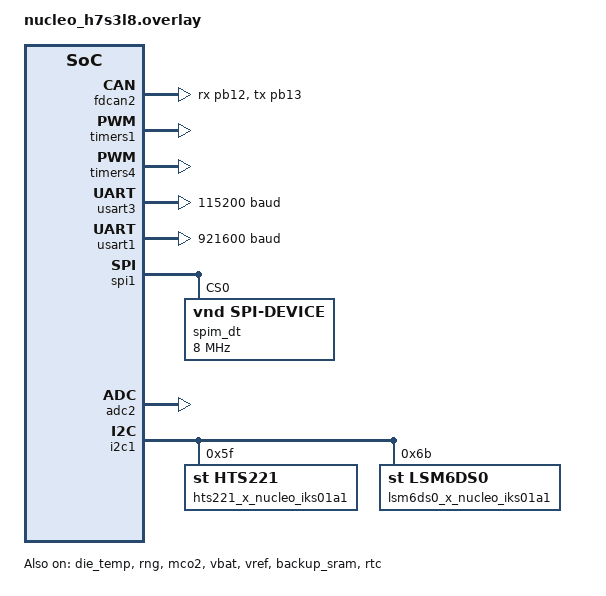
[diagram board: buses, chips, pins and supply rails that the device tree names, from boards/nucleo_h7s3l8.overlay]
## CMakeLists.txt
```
# SPDX-License-Identifier: Apache-2.0

cmake_minimum_required(VERSION 3.20.0)

find_package(Zephyr REQUIRED HINTS $ENV{ZEPHYR_BASE})
project(sample_with_mcuboot)

# Verify that this sample is built through sysbuild to ensure MCUboot is
# automatically included and that sample specific MCUboot configurations are
# used when building MCUboot.
test_sysbuild()

target_sources(app PRIVATE 
    src/main.c
    src/operation.c

    src/bsp/uart.c
    src/bsp/button.c
    src/nucleo_iks01a1/nucleo_iks01a1.c
)
```

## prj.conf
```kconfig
# MAIN
CONFIG_MAIN_STACK_SIZE=4096

# LOG
CONFIG_LOG=y
CONFIG_LOG_BUFFER_SIZE=4096

# GPIO
CONFIG_GPIO=y

# I2C
CONFIG_I2C=y

# SPI
CONFIG_SPI=y

# PWM
CONFIG_PWM=y
CONFIG_PWM_SHELL=y
CONFIG_PWM_LOG_LEVEL_DBG=y

# RTC
CONFIG_RTC=y
CONFIG_RTC_LOG_LEVEL_DBG=y
CONFIG_RTC_SHELL=y

# HWINFO
CONFIG_HWINFO=y
CONFIG_HWINFO_SHELL=y

# BBRAM
CONFIG_BBRAM=y
CONFIG_BBRAM_SHELL=y
CONFIG_MPU_ALLOW_FLASH_WRITE=y

# SHELL
CONFIG_SHELL=y
CONFIG_SPI_SHELL=y
CONFIG_GPIO_SHELL=y
CONFIG_I2C_SHELL=y
CONFIG_SHELL_STACK_SIZE=4096
CONFIG_SHELL_PROMPT_UART="inspiron:~$ "

# REBOOT
CONFIG_REBOOT=y

# FPU
# CNN  --> FPU     -->
# 1007 --> 1044(X) --> 736
# CONFIG_FPU=y
# CONFIG_SPEED_OPTIMIZATIONS=y

# ST TEMP SENSOR
CONFIG_SENSOR=y
CONFIG_STM32_TEMP=y

# CAN
CONFIG_CAN=y
CONFIG_CAN_SHELL=y
CONFIG_CAN_FD_MODE=y
CONFIG_CAN_MANUAL_RECOVERY_MODE=y
CONFIG_CAN_DEFAULT_BITRATE=1000000
CONFIG_CAN_LOG_LEVEL_DBG=y

# HEAP
CONFIG_HEAP_MEM_POOL_SIZE=10240
CONFIG_SYS_HEAP_RUNTIME_STATS=y


# RANDOM
CONFIG_ENTROPY_GENERATOR=y

# JSON
CONFIG_JSON_LIBRARY=y

# C++
CONFIG_CPP=y
CONFIG_STD_CPP17=y
CONFIG_MAIN_STACK_SIZE=4096

CONFIG_REQUIRES_FULL_LIBCPP=y
CONFIG_CBPRINTF_FP_SUPPORT=y
```

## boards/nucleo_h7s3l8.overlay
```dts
/*
 * Copyright (c) 2025 STMicroelectronics
 *
 * SPDX-License-Identifier: Apache-2.0
 */

/*
 * Define the device, controller and partition to be the external memory
 * for running the application in external NOR from MCUboot
 */
/ {
	aliases {
		/delete-property/ led0;
    	/delete-property/ led1;
		/delete-property/ led2;

		led0 = &red_led;
	};

	chosen {
		zephyr,flash = &mx25uw25645;
		zephyr,flash-controller = &mx25uw25645;
		zephyr,code-partition = &slot0_partition;
	};

	soc {
		backup_sram: memory@38800000 {
			compatible = "zephyr,memory-region", "st,stm32-backup-sram";
			reg = <0x38800000 DT_SIZE_K(4)>;
			clocks = <&rcc STM32_CLOCK(AHB4, 28)>;
			zephyr,memory-region = "BACKUP_SRAM";
			status = "okay";
		};

		rtc: rtc@58004000 {
			compatible = "st,stm32-rtc";
			reg = <0x58004000 0x400>;
			interrupts = <32 0>;
			clocks = <&rcc STM32_CLOCK(APB4, 16)>,
				<&rcc STM32_SRC_LSE RTC_SEL(1)>;
			async-prescaler = <127>;
			sync-prescaler = <255>;
			alarms-count = <2>;
			alrm-exti-line = <17>;
			status = "okay";

			bbram: backup_regs {
				compatible = "st,stm32-bbram";
				st,backup-regs = <32>;
				status = "okay";
			};
		};
	};
};

&sram1 {
	status = "okay";
};

&sram2 {
	status = "okay";
};

&pll {
	div-m = <2>;
	mul-n = <50>;
	div-p = <1>;
};

&rcc {
	clock-frequency = <DT_FREQ_M(600)>;
	hpre = <2>;
};

&clk_hsi48 {
	status = "okay";
};

&die_temp {
	status = "okay";
};

&rng {
	status = "okay";
};

&fdcan2 {
	pinctrl-0 = <&fdcan2_rx_pb12 &fdcan2_tx_pb13>;
	pinctrl-names = "default";
	status = "okay";
};

&timers1 {
	status = "okay";

	pwm1 {
		compatible = "st,stm32-pwm";
		pinctrl-0 = <&tim1_ch4_pd10>;
		pinctrl-names = "default";
		status = "okay";
		#pwm-cells = <3>;
	};
};

&timers4 {
	status = "okay";

	pwm4 {
		compatible = "st,stm32-pwm";
		pinctrl-0 = <&tim4_ch2_pd13>;
		pinctrl-names = "default";
		status = "okay";
		#pwm-cells = <3>;
	};
};

&usart3 {
	current-speed = <115200>;
};

&usart1 {
	current-speed = <921600>;
};

&spi1 {
	spim_dt: spi-device@0 {
		compatible = "vnd,spi-device";
		reg = <0>;
		spi-max-frequency = <DT_FREQ_M(8)>;
	};
};

/*
	PA8 for mco1 has been used as I2C3_SCL.
*/
&mco2 {
	status = "okay";
	clocks = <&rcc STM32_SRC_HSE MCO1_SEL(2)>;
	prescaler = <MCO1_PRE(MCO_PRE_DIV_11)>;
	pinctrl-0 = <&rcc_mco_2_pc9>;
	pinctrl-names = "default";
};

&adc2 {
	st,adc-clock-source = "SYNC";
	st,adc-prescaler = <4>;
	status = "okay";
};

&vbat {
	status = "okay";
};

&vref {
	status = "okay";
};

&i2c1 {
	hts221_x_nucleo_iks01a1: hts221@5f {
		compatible = "st,hts221";
		reg = <0x5f>;
	};

	lsm6ds0_x_nucleo_iks01a1: lsm6ds0@6b {
		compatible = "st,lsm6ds0";
		reg = <0x6b>;
	};
};

/delete-node/ &green_led;
/delete-node/ &yellow_led;


/delete-node/ &scratch_partition;
/delete-node/ &slot0_partition;
/delete-node/ &slot1_partition;
/delete-node/ &storage_partition;

&mx25uw25645 {
	partitions {
		compatible = "fixed-partitions";
		#address-cells = <1>;
		#size-cells = <1>;

		slot0_partition: partition@0 {
			label = "image-0";
			reg = <0x00000000 0x00800180>;
		};

		slot1_partition: partition@801000 {
			label = "image-1";
			reg = <0x00801000 0x00800180>;
		};
		scratch_partition: partition@1002000 {
			label = "image-scratch";
			reg = <0x01002000 DT_SIZE_K(64)>;
		};
		storage_partition: partition@1012000 {
			label = "storage";
			reg = <0x01012000 0x00FEE000>;
		};
	};
};
```

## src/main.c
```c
/*
 * Copyright (c) 2022 Nordic Semiconductor
 *
 * SPDX-License-Identifier: Apache-2.0
 */

#include <zephyr/kernel.h>
#include <zephyr/linker/linker-defs.h>
#include <zephyr/drivers/gpio.h>

#include "bsp/button.h"
#include "bsp/uart.h"

#include <zephyr/logging/log.h>
LOG_MODULE_REGISTER(main, LOG_LEVEL_DBG);


#define LED_DELAY_MS 100

static const struct gpio_dt_spec led0 = GPIO_DT_SPEC_GET(DT_ALIAS(led0), gpios);

__stm32_backup_sram_section int backup_boot_count;

int main(void)
{
	backup_boot_count++;
	
	LOG_INF("app on: %p", (void *)__rom_region_start);
	LOG_INF("arch : %s", CONFIG_ARCH);
	LOG_INF("soc : %s", CONFIG_BOARD_QUALIFIERS);
	LOG_INF("board : %s", CONFIG_BOARD);
	LOG_INF("frequency : %d MHz (Cortex-M7)", sys_clock_hw_cycles_per_sec()/1000000);
	LOG_INF("boot count : %d", backup_boot_count);

	gpio_pin_configure_dt(&led0, GPIO_OUTPUT_INACTIVE);

	bsp_button_init();
	bsp_uart_init();
	int bsp_imu_init(void);
	bsp_imu_init();

	while(1) 
	{
		gpio_pin_toggle_dt(&led0);
		k_sleep(K_MSEC(LED_DELAY_MS));
	}
	
	return 0;
}
```

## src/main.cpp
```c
/*
 * Copyright (c) 2022 Nordic Semiconductor
 *
 * SPDX-License-Identifier: Apache-2.0
 */

#include <zephyr/kernel.h>
#include <zephyr/linker/linker-defs.h>

#include <iostream>
#include <cmath>
#include <fstream>
#include <iomanip>
#include <algorithm>
#include <chrono>

#include "tensorflow/lite/micro/micro_interpreter.h"
#include "tensorflow/lite/micro/micro_log.h"
#include "tensorflow/lite/micro/micro_mutable_op_resolver.h"
#include "tensorflow/lite/micro/system_setup.h"
#include "tensorflow/lite/schema/schema_generated.h"

#include "mnist/mnist_cnn_quant_model_data.h"
#include "mnist/test_input_digital.h"

uint8_t *p_sample_data = NULL;

// 💡 Optimization: allocate 48KB to avoid internal buffer overlap in extreme edge cases
constexpr int kTensorArenaSize = 48 * 1024;
alignas(16) uint8_t tensor_arena[kTensorArenaSize];

// --- Keep your useful debug functions (no changes) ---
void print_image_stats(uint8_t* image, int size, const char* name) {
    std::cout << "\n=== " << name << " Statistics ===" << std::endl;
    int min_val = 255, max_val = 0;
    long sum = 0;
    int non_zero = 0;
    for (int i = 0; i < size; ++i) {
        uint8_t val = image[i];
        if (val < min_val) min_val = val;
        if (val > max_val) max_val = val;
        sum += val;
        if (val > 50) non_zero++;
    }
    float mean = static_cast<float>(sum) / size;
    float density = static_cast<float>(non_zero) / size * 100.0f;
    std::cout << "  Min value: " << min_val << std::endl;
    std::cout << "  Max value: " << max_val << std::endl;
    std::cout << "  Mean value: " << mean << std::endl;
    std::cout << "  Non-dark pixels (>50): " << non_zero << " / " << size << " (" << density << "%)" << std::endl;
}

void print_image_ascii(uint8_t* image, int width, int height) {
    std::cout << "\n=== Image ASCII Representation ===" << std::endl;
    for (int y = 0; y < height; ++y) {
        for (int x = 0; x < width; ++x) {
            uint8_t pixel = image[y * width + x];
            if (pixel > 200) std::cout << "██";
            else if (pixel > 150) std::cout << "▓▓";
            else if (pixel > 100) std::cout << "▒▒";
            else if (pixel > 50) std::cout << "░░";
            else std::cout << "  ";
        }
        std::cout << std::endl;
    }
}

void print_quantization_debug(uint8_t* raw_image, int8_t* quantized_image, float scale, int zero_point, int size) {
    std::cout << "\n=== Quantization Debug (first 20 pixels) ===" << std::endl;
    std::cout << "Quantization params: scale=" << scale << ", zero_point=" << zero_point << std::endl;
    std::cout << "Raw(0-255) -> Normalized(0-1) -> Quantized(int8)" << std::endl;
    int printed_count = 0;
    for (int i = 0; i < size && printed_count < 10; ++i) {
        if (raw_image[i] == 0) continue; 
        
        float raw_val = static_cast<float>(raw_image[i]);
        float normalized = raw_val / 255.0f;
        float quantized_float = (normalized / scale) + zero_point;
        int8_t calc_quant = static_cast<int8_t>(std::max(-128.0f, std::min(127.0f, std::round(quantized_float))));
        
        std::cout << "  Idx[" << i << "] Raw: " << std::setw(3) << (int)raw_image[i] 
                  << " -> Norm: " << std::fixed << std::setprecision(3) << normalized 
                  << " -> Calc int8: " << std::setw(4) << (int)calc_quant 
                  << " | Actual Buffer: " << std::setw(4) << (int)quantized_image[i] << std::endl;
        printed_count++;
    }
}

void print_output_details(int8_t* output_buffer, float scale, int zero_point) {
    std::cout << "\n=== Model Output Details ===" << std::endl;
    std::cout << "Output quant params: scale=" << scale << ", zero_point=" << zero_point << std::endl;
    float sum = 0.0f;
    for (int i = 0; i < 10; ++i) {
        float probability = (static_cast<float>(output_buffer[i]) - zero_point) * scale;
        probability = std::max(0.0f, std::min(1.0f, probability));
        sum += probability;
        std::cout << "Digit " << i << ": raw=" << std::setw(4) << (int)output_buffer[i] 
                  << " -> prob=" << std::fixed << std::setprecision(4) << probability;
        if (probability > 0.1f) std::cout << " ***";
        std::cout << std::endl;
    }
    std::cout << "Probability sum: " << sum << " (should be ~1.0)" << std::endl;
}

int cnn_mnist() {
    tflite::InitializeTarget();

    std::cout << "\n========================================" << std::endl;
    std::cout << "=== MNIST CNN Model Debug Version ===" << std::endl;
    std::cout << "========================================\n" << std::endl;

    const tflite::Model* model = tflite::GetModel(_mnist_cnn_quant_tflite);
    if (model->version() != TFLITE_SCHEMA_VERSION) {
        std::cerr << "Model schema version mismatch!" << std::endl;
        return 1;
    }
    std::cout << "✓ Model loaded successfully" << std::endl;

    // Keep exactly these 5 operators to ensure the model ops are resolved correctly
    static tflite::MicroMutableOpResolver<8> micro_op_resolver;
    micro_op_resolver.AddConv2D();
    micro_op_resolver.AddMaxPool2D();
    micro_op_resolver.AddReshape();
    micro_op_resolver.AddFullyConnected();
    micro_op_resolver.AddSoftmax();
    micro_op_resolver.AddAdd();
    micro_op_resolver.AddQuantize();
    micro_op_resolver.AddMul(); 

    static tflite::MicroInterpreter interpreter(
        model, micro_op_resolver, tensor_arena, kTensorArenaSize);
    
    if (interpreter.AllocateTensors() != kTfLiteOk) {
        std::cerr << "Failed to allocate tensor memory!" << std::endl;
        return 1;
    }

    TfLiteTensor* input = interpreter.input(0);
    TfLiteTensor* output = interpreter.output(0);
    
    float input_scale = input->params.scale;
    int input_zero_point = input->params.zero_point;
    float output_scale = output->params.scale;
    int output_zero_point = output->params.zero_point;
    
    // Run inference for ten sample images.
    uint8_t* samples[] = { 
        (uint8_t*)sample0_data, (uint8_t*)sample1_data, (uint8_t*)sample2_data, 
        (uint8_t*)sample3_data, (uint8_t*)sample4_data, (uint8_t*)sample5_data,
        (uint8_t*)sample6_data, (uint8_t*)sample7_data, (uint8_t*)sample8_data,
        (uint8_t*)sample9_data };
    const char* sample_names[] = { 
        "sample0", "sample1", "sample2",
        "sample3", "sample4", "sample5",
        "sample6", "sample7", "sample8",
        "sample9" };
    const int num_samples = 1;
    const float inv_scale_255 = 1.0f / (255.0f * input_scale);
    const float zero_point_f = static_cast<float>(input_zero_point);

    int8_t* input_buffer = input->data.int8;
    int input_size = input->bytes;

    for (int s = 0; ;(s < num_samples)? s++ : s)
    {
        if(s < num_samples)
        {
            std::cout << "\n----- Inference for " << sample_names[s] << " -----" << std::endl;
            p_sample_data = samples[s];
        }
        else
        {
            std::cout << "\n----- Inference for bsp uart receive -----" << std::endl;

            extern struct k_sem bsp_rx_sem;
            k_sem_take(&bsp_rx_sem, K_FOREVER);
        
            extern uint8_t digital_buffer[784];
            p_sample_data = digital_buffer;
        }

        // 1. Print raw image statistics and ASCII
        print_image_stats(p_sample_data, 784, s < num_samples ? sample_names[s] : "bsp uart receive");
        print_image_ascii(p_sample_data, 28, 28);

        // 2. Preprocessing and quantization (write into interpreter input buffer)
        for (int i = 0; i < input_size; ++i) {
            float raw_val = static_cast<float>(p_sample_data[i]);
            float quantized_float = (raw_val * inv_scale_255) + zero_point_f;
        
            quantized_float = std::max(-128.0f, std::min(127.0f, quantized_float));
            input_buffer[i] = static_cast<int8_t>(std::round(quantized_float));
        }

    #if 0
        print_quantization_debug(p_sample_data, input_buffer, input_scale, input_zero_point, input_size);
    #endif

        // 3. Invoke the model (timed using Zephyr k_uptime_get)
        uint32_t start_ms = k_uptime_get();
        TfLiteStatus invoke_status = interpreter.Invoke();
        uint32_t infer_ms = k_uptime_get() - start_ms;
        std::cout << "Inference time: " << infer_ms << " ms" << std::endl;
        if (invoke_status != kTfLiteOk) {
            std::cerr << "ERROR: Model inference failed for " << sample_names[s] << std::endl;
            continue;
        }

        // 4. Output details and prediction
        int8_t* output_buffer = output->data.int8;
        print_output_details(output_buffer, output_scale, output_zero_point);

        int max_digit = 0;
        float max_probability = -1.0f;
        for (int i = 0; i < 10; ++i) {
            float prob = (static_cast<float>(output_buffer[i]) - output_zero_point) * output_scale;
            prob = std::max(0.0f, std::min(1.0f, prob));
            if (prob > max_probability) {
                max_probability = prob;
                max_digit = i;
            }
        }
        if(s< num_samples)
        {
            std::cout << "Result for " << sample_names[s] << ": " << (max_probability * 100)
                    << "% likely the digit [" << max_digit << "]" << std::endl;
        }
        else
        {
            std::cout << "Result for bsp uart receive: " << (max_probability * 100)
                    << "% likely the digit [" << max_digit << "]" << std::endl;
        }
    }

    return 0;
}

int main(void)
{
	printk("app on: %p\r\n", (void *)__rom_region_start);
	printk("arch : %s\r\n", CONFIG_ARCH);
	printk("soc : %s\r\n", CONFIG_BOARD_QUALIFIERS);
	printk("board : %s\r\n", CONFIG_BOARD);
	printk("frequency : %d MHz (Cortex-M7)\r\n", sys_clock_hw_cycles_per_sec()/1000000);

	cnn_mnist();

	return 0;
}
```

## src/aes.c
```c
#include <stdlib.h>
#include <zephyr/kernel.h>
#include <zephyr/shell/shell.h>
#include <zephyr/kernel.h>
#include <zephyr/shell/shell.h>
#include <stm32h7rsxx_hal.h>

#include <zephyr/logging/log.h>
LOG_MODULE_REGISTER(aes, LOG_LEVEL_DBG);

static CRYP_HandleTypeDef hcryp = {0};

static const uint32_t pKeySAES[8] = {
                            0xE3C08A8F,0x06C6E3AD,0x95A70557,0xB23F7548,0x3CE33021,0xA9C72B70,0x25666204,0xC69C0B72};
static const uint32_t pInitVectSAES[4] = {
                            0x12153524,0xC0895E81,0xB2C28465,0x00000002};
static const uint32_t HeaderSAES[7] = {
                            0xD609B1F0,0x56637A0D,0x46DF998D,0x88E52E00,0xB2C28465,0x12153524,0xC0895E81};

#define PLAINTEXT_SIZE    12

uint32_t Plaintext[12] = {0x08000F10,0x11121314,0x15161718,0x191A1B1C
                         ,0x1D1E1F20,0x21222324,0x25262728,0x292A2B2C
                         ,0x2D2E2F30,0x31323334,0x35363738,0x393A0002};

uint32_t Ciphertext[12] = {0xE2006EB4,0x2F527702,0x2D9B1992,0x5BC419D7
                          ,0xA592666C,0x925FE2EF,0x718EB4E3,0x08EFEAA7
                          ,0xC5273B39,0x4118860A,0x5BE2A97F,0x56AB7836};
uint32_t ExpectedTAG[4]= {0x5CA597CD,0xBB3EDB8D,0x1A1151EA,0x0AF7B436};

/* Used for storing the encrypted text */
uint32_t EncryptedText[12]={0};

/* Used for storing the decrypted text */
uint32_t DecryptedText[12]={0};

int crypto_aes_init()
{
    HAL_StatusTypeDef status = HAL_OK;

    hcryp.Instance = SAES;
    hcryp.Init.DataType = CRYP_DATATYPE_32B;
    hcryp.Init.KeySize = CRYP_KEYSIZE_256B;
    hcryp.Init.pKey = (uint32_t *)pKeySAES;
    hcryp.Init.pInitVect = (uint32_t *)pInitVectSAES;
    hcryp.Init.Algorithm = CRYP_AES_GCM;
    hcryp.Init.Header = (uint32_t *)HeaderSAES;
    hcryp.Init.HeaderSize = 7;
    hcryp.Init.DataWidthUnit = CRYP_DATAWIDTHUNIT_WORD;
    hcryp.Init.HeaderWidthUnit = CRYP_HEADERWIDTHUNIT_WORD;
    hcryp.Init.KeyIVConfigSkip = CRYP_KEYIVCONFIG_ALWAYS;
    hcryp.Init.KeyMode = CRYP_KEYMODE_NORMAL;
    hcryp.Init.KeySelect = CRYP_KEYSEL_NORMAL;

    __HAL_RCC_SAES_CLK_ENABLE();
    
    status = HAL_CRYP_Init(&hcryp);

    if (status != HAL_OK)
    {
        LOG_ERR("HAL_CRYP_Init failed with %d", status);
        return -EAGAIN;
    }

    return 0;
}

static int crypto_aes_operation(const struct shell *sh, size_t argc, char *argv[])
{
    int operation = atoi(argv[1]);
    HAL_StatusTypeDef status = HAL_OK;
    
    LOG_DBG("operation %d selected", operation);

    if(operation == 0)
    {
        status = HAL_CRYP_Encrypt(&hcryp, Plaintext, PLAINTEXT_SIZE, EncryptedText, 0xFF);
        LOG_INF("status %d", status);
        if (status == HAL_OK)
        {
            LOG_HEXDUMP_INF((uint8_t*)EncryptedText, sizeof(EncryptedText), "encrypt");
            LOG_HEXDUMP_INF((uint8_t*)Ciphertext, sizeof(Ciphertext), "compare");
        }
    }
    else if(operation == 1)
    {

    }
    else if(operation == 2)
    {
        
    }
    else
    {
        LOG_DBG("unknown operation");
    }
    return 0;
}

SHELL_STATIC_SUBCMD_SET_CREATE(aes_commands,
	SHELL_CMD(num, NULL,
		"aes operaion",
		crypto_aes_operation),
	SHELL_SUBCMD_SET_END
);

SHELL_CMD_REGISTER(aes, &aes_commands,
		   "example for aes encrypt/decrypt", NULL);
```

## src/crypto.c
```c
#include <stdlib.h>
#include <zephyr/kernel.h>
#include <zephyr/shell/shell.h>

#include <zephyr/logging/log.h>
LOG_MODULE_REGISTER(crypto, LOG_LEVEL_DBG);

static void _ecdsa_test(void) {
    extern int _ecdsa(int type);
    _ecdsa(0);
    _ecdsa(1);
    _ecdsa(2);
}

static int _ecdhe_test()
{
    extern int _ecdhe(int type);
    _ecdhe(0);
    _ecdhe(1);
    _ecdhe(2);

    return 0;
}

static int _rsa_test()
{
    int _rsa(int type);
    _rsa(0);

    return 0;
}

static int example_crypto_operations(const struct shell *sh, size_t argc, char *argv[])
{
    int operation = atoi(argv[1]);
    
    LOG_DBG("operation %d selected", operation);

    if(operation == 0)
    {
        _ecdsa_test();
    }
    else if(operation == 1)
    {
        _ecdhe_test();
    }
    else if(operation == 2)
    {
        _rsa_test();
    }
    else 
    {
        LOG_DBG("unknown operation");
    }

    return 0;
}

SHELL_STATIC_SUBCMD_SET_CREATE(crypto_commands,
	SHELL_CMD(num, NULL,
		"operation",
		example_crypto_operations),
	SHELL_SUBCMD_SET_END
);

SHELL_CMD_REGISTER(crypto, &crypto_commands,
		   "example for crypto", NULL);
```

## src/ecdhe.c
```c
#include <stdio.h>
#include <string.h>
#include <mbedtls/entropy.h>
#include <mbedtls/ctr_drbg.h>
#include <mbedtls/ecdh.h>
#include <mbedtls/ecp.h>
#include <zephyr/kernel.h>

#include <zephyr/logging/log.h>
LOG_MODULE_REGISTER(ecdhe, LOG_LEVEL_DBG);

/**
 * @brief Performs an ECDHE test using low-level compute_shared APIs.
 * This bypasses the private structure constraints of mbedtls_ecdh_context in 3.x
 * and directly triggers the ECP multiplication hooks for ATECC608 acceleration.
 */

int _ecdhe(int type)
{
    int ret = 1;
    mbedtls_ecp_group_id curve;
    size_t key_len = 0;

    mbedtls_ecp_group grp;
    mbedtls_mpi d_cli, d_srv, z_cli, z_srv;
    mbedtls_ecp_point Q_cli, Q_srv;
    mbedtls_entropy_context entropy;
    mbedtls_ctr_drbg_context ctr_drbg;
    unsigned char secret_cli[66] = {0};
    unsigned char secret_srv[66] = {0};

    switch(type) {
        case 0:
            curve = MBEDTLS_ECP_DP_SECP192R1;
            key_len = 24;
            LOG_INF("[ECDHE] Using SECP192R1");
            break;
        case 1:
            curve = MBEDTLS_ECP_DP_SECP256R1;
            key_len = 32;
            LOG_INF("[ECDHE] Using SECP256R1");
            break;
        case 2:
            curve = MBEDTLS_ECP_DP_SECP384R1;
            key_len = 48;
            LOG_INF("[ECDHE] Using SECP384R1");
            break;
        default:
            LOG_ERR("Unknown type: %d", type);
            return -1;
    }

    LOG_INF("=====================================================");
    LOG_INF("--- ECDHE (Low-Level API) ---");
    LOG_INF("=====================================================");

    mbedtls_ecp_group_init(&grp);
    mbedtls_ecp_point_init(&Q_cli);
    mbedtls_ecp_point_init(&Q_srv);
    mbedtls_mpi_init(&d_cli);
    mbedtls_mpi_init(&d_srv);
    mbedtls_mpi_init(&z_cli);
    mbedtls_mpi_init(&z_srv);
    mbedtls_ctr_drbg_init(&ctr_drbg);
    mbedtls_entropy_init(&entropy);

    LOG_INF("step 1: seeding RNG and loading curve...");
    ret = mbedtls_ctr_drbg_seed(&ctr_drbg, mbedtls_entropy_func, &entropy, NULL, 0);
    if (ret != 0) {
        LOG_ERR("mbedtls_ctr_drbg_seed failed: -0x%04x", (unsigned int)-ret);
        goto exit;
    }
    ret = mbedtls_ecp_group_load(&grp, curve);
    if (ret != 0) {
        LOG_ERR("mbedtls_ecp_group_load failed: -0x%04x", (unsigned int)-ret);
        goto exit;
    }

    LOG_INF("step 2: generating ephemeral keypairs...");
    ret = mbedtls_ecdh_gen_public(&grp, &d_cli, &Q_cli, mbedtls_ctr_drbg_random, &ctr_drbg);
    if (ret != 0) {
        LOG_ERR("client keypair generation failed: -0x%04x", (unsigned int)-ret);
        goto exit;
    }
    ret = mbedtls_ecdh_gen_public(&grp, &d_srv, &Q_srv, mbedtls_ctr_drbg_random, &ctr_drbg);
    if (ret != 0) {
        LOG_ERR("server keypair generation failed: -0x%04x", (unsigned int)-ret);
        goto exit;
    }

    LOG_INF("step 3: computing shared secrets...");
    LOG_INF("  -> client side calculating...");
    ret = mbedtls_ecdh_compute_shared(&grp, &z_cli, &Q_srv, &d_cli, mbedtls_ctr_drbg_random, &ctr_drbg);
    if (ret != 0) {
        LOG_ERR("client side computation failed: -0x%04x", (unsigned int)-ret);
        goto exit;
    }
    LOG_INF("  -> server side calculating...");
    ret = mbedtls_ecdh_compute_shared(&grp, &z_srv, &Q_cli, &d_srv, mbedtls_ctr_drbg_random, &ctr_drbg);
    if (ret != 0) {
        LOG_ERR("server side computation failed: -0x%04x", (unsigned int)-ret);
        goto exit;
    }

    LOG_INF("step 4: exporting results and verifying match...");
    ret = mbedtls_mpi_write_binary(&z_cli, secret_cli, key_len);
    if (ret != 0) goto exit;
    ret = mbedtls_mpi_write_binary(&z_srv, secret_srv, key_len);
    if (ret != 0) goto exit;

    if (memcmp(secret_cli, secret_srv, key_len) == 0) {
        LOG_INF("[success] shared Secrets match! (%d bytes)", (int)key_len);
    } else {
        LOG_ERR("[failure] shared Secrets mismatch!");
    }

exit:
    mbedtls_ecp_group_free(&grp);
    mbedtls_ecp_point_free(&Q_cli);
    mbedtls_ecp_point_free(&Q_srv);
    mbedtls_mpi_free(&d_cli);
    mbedtls_mpi_free(&d_srv);
    mbedtls_mpi_free(&z_cli);
    mbedtls_mpi_free(&z_srv);
    mbedtls_ctr_drbg_free(&ctr_drbg);
    mbedtls_entropy_free(&entropy);
    return ret;
}
```

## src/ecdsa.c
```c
#include <mbedtls/entropy.h>
#include <mbedtls/ctr_drbg.h>
#include <mbedtls/ecdsa.h>
#include <mbedtls/sha256.h>

#include <zephyr/logging/log.h>
LOG_MODULE_REGISTER(ecdsa, LOG_LEVEL_DBG);

/*
    [00:00:08.376,000] <dbg> crypto: example_crypto_operations: operation 7 selected
    [00:00:08.384,000] <inf> ecdsa:   . Seeding the random number generator...
    [00:00:08.398,000] <inf> ecdsa:  ok  . Generating key pair...
    [00:00:09.902,000] <inf> ecdsa:  ok (key size: 256 bits)
    [00:00:09.908,000] <inf> ecdsa:   . Computing message hash...
    [00:00:09.915,000] <inf> ecdsa:  ok
    [00:00:09.918,000] <inf> ecdsa:   . Signing message hash...
    [00:00:11.480,000] <inf> ecdsa:  ok (signature length = 72)
    [00:00:11.486,000] <inf> ecdsa:   . Preparing verification context...
    [00:00:11.493,000] <inf> ecdsa:  ok  . Verifying signature...
    [00:00:17.423,000] <inf> ecdsa:  ok
*/

int _ecdsa(int type)
{
    int ret = 1;
    mbedtls_ecdsa_context ctx_sign, ctx_verify;
    mbedtls_ecp_point Q;
    mbedtls_ecp_point_init(&Q);
    mbedtls_entropy_context entropy;
    mbedtls_ctr_drbg_context ctr_drbg;
    unsigned char message[100];
    unsigned char hash[32];
    unsigned char sig[MBEDTLS_ECDSA_MAX_LEN];
    size_t sig_len;
    const char *pers = "ecdsa";
    mbedtls_ecp_group_id curve = MBEDTLS_ECP_DP_SECP256R1;

    switch(type) {
        case 0:
            curve = MBEDTLS_ECP_DP_SECP192R1;
            printk("\r\n");
            LOG_INF("[ECDSA] Using SECP192R1");
            break;
        case 1:
            curve = MBEDTLS_ECP_DP_SECP256R1;
            printk("\r\n");
            LOG_INF("[ECDSA] Using SECP256R1");
            break;
        case 2:
            curve = MBEDTLS_ECP_DP_SECP384R1;
            printk("\r\n");
            LOG_INF("[ECDSA] Using SECP384R1");
            break;
        default:
            printk("\r\n");
            LOG_ERR("Unknown type: %d", type);
            return -1;
    }

    mbedtls_ecdsa_init(&ctx_sign);
    mbedtls_ecdsa_init(&ctx_verify);
    mbedtls_ctr_drbg_init(&ctr_drbg);

    memset(sig, 0, sizeof(sig));
    memset(message, 0x25, sizeof(message));

    /*
     * Generate a key pair for signing
     */
    LOG_INF("  . Seeding the random number generator...");

    mbedtls_entropy_init(&entropy);
    if ((ret = mbedtls_ctr_drbg_seed(&ctr_drbg, mbedtls_entropy_func, &entropy,
                                     (const unsigned char *) pers,
                                     strlen(pers))) != 0) {
        LOG_INF(" failed  ! mbedtls_ctr_drbg_seed returned %d", ret);
        goto exit;
    }

    LOG_INF(" ok  . Generating key pair...");

    if ((ret = mbedtls_ecdsa_genkey(&ctx_sign, curve,
                                    mbedtls_ctr_drbg_random, &ctr_drbg)) != 0) {
        LOG_INF(" failed  ! mbedtls_ecdsa_genkey returned %d", ret);
        goto exit;
    }

    mbedtls_ecp_group_id grp_id = mbedtls_ecp_keypair_get_group_id(&ctx_sign);
    const mbedtls_ecp_curve_info *curve_info =
        mbedtls_ecp_curve_info_from_grp_id(grp_id);
    LOG_INF(" ok (key size: %d bits)", (int) curve_info->bit_size);

    /*
     * Compute message hash
     */
    LOG_INF("  . Computing message hash...");

    if ((ret = mbedtls_sha256(message, sizeof(message), hash, 0)) != 0) {
        LOG_INF(" failed  ! mbedtls_sha256 returned %d", ret);
        goto exit;
    }

    LOG_INF(" ok");

    /*
     * Sign message hash
     */
    LOG_INF("  . Signing message hash...");

    if ((ret = mbedtls_ecdsa_write_signature(&ctx_sign, MBEDTLS_MD_SHA256,
                                             hash, sizeof(hash),
                                             sig, sizeof(sig), &sig_len,
                                             mbedtls_ctr_drbg_random, &ctr_drbg)) != 0) {
        LOG_INF(" failed  ! mbedtls_ecdsa_write_signature returned %d", ret);
        goto exit;
    }
    LOG_INF(" ok (signature length = %u)", (unsigned int) sig_len);

    /*
     * Transfer public information to verifying context
     *
     * We could use the same context for verification and signatures, but we
     * chose to use a new one in order to make it clear that the verifying
     * context only needs the public key (Q), and not the private key (d).
     */
    LOG_INF("  . Preparing verification context...");

    if ((ret = mbedtls_ecp_export(&ctx_sign, NULL, NULL, &Q)) != 0) {
        LOG_INF(" failed  ! mbedtls_ecp_export returned %d", ret);
        goto exit;
    }

    if ((ret = mbedtls_ecp_set_public_key(grp_id, &ctx_verify, &Q)) != 0) {
        LOG_INF(" failed  ! mbedtls_ecp_set_public_key returned %d", ret);
        goto exit;
    }

    /*
     * Verify signature
     */
    LOG_INF(" ok  . Verifying signature...");

    if ((ret = mbedtls_ecdsa_read_signature(&ctx_verify,
                                            hash, sizeof(hash),
                                            sig, sig_len)) != 0) {
        LOG_INF(" failed  ! mbedtls_ecdsa_read_signature returned %d", ret);
        goto exit;
    }

    LOG_INF(" ok");
exit:

    mbedtls_ecdsa_free(&ctx_verify);
    mbedtls_ecdsa_free(&ctx_sign);
    mbedtls_ecp_point_free(&Q);
    mbedtls_ctr_drbg_free(&ctr_drbg);
    mbedtls_entropy_free(&entropy);

    return 0;
}
```

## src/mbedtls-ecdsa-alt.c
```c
#include <string.h>
#include <stm32h7rsxx_hal.h>
#include <stm32h7rsxx_hal_pka.h>

#include <mbedtls/ecdsa.h>
#include <mbedtls/ecp.h>
#include <mbedtls/bignum.h>
#include <mbedtls/platform_util.h>
#include <mbedtls/error.h>

#include <zephyr/logging/log.h>
LOG_MODULE_REGISTER(ecdsa_alt, LOG_LEVEL_DBG);

static PKA_HandleTypeDef hpka = { .Instance = PKA, .State = HAL_PKA_STATE_READY };

/* SECP192R1 parameters */
static const uint32_t secp192r1_modulusSize = 24;
static const uint32_t secp192r1_orderSize   = 24;
static const uint32_t secp192r1_coefSign    = 1;
static const uint8_t  secp192r1_p[24]       = {0xFF, 0xFF, 0xFF, 0xFF, 0xFF, 0xFF, 0xFF, 0xFF, 0xFF, 0xFF, 0xFF, 0xFF, 0xFF, 0xFF, 0xFF, 0xFE, 0xFF, 0xFF, 0xFF, 0xFF, 0xFF, 0xFF, 0xFF, 0xFF};
static const uint8_t  secp192r1_a[24]       = {0x00, 0x00, 0x00, 0x00, 0x00, 0x00, 0x00, 0x00, 0x00, 0x00, 0x00, 0x00, 0x00, 0x00, 0x00, 0x00, 0x00, 0x00, 0x00, 0x00, 0x00, 0x00, 0x00, 0x03};
static const uint8_t  secp192r1_b[24]       = {0x64, 0x21, 0x05, 0x19, 0xE5, 0x9C, 0x80, 0xE7, 0x0F, 0xA7, 0xE9, 0xAB, 0x72, 0x24, 0x30, 0x49, 0xFE, 0xB8, 0xDE, 0xEC, 0xC1, 0x46, 0xB9, 0xB1};
static const uint8_t  secp192r1_m[24]       = {0x00};
static const uint8_t  secp192r1_Gx[24]      = {0x18, 0x8D, 0xA8, 0x0E, 0xB0, 0x30, 0x90, 0xF6, 0x7C, 0xBF, 0x20, 0xEB, 0x43, 0xA1, 0x88, 0x00, 0xF4, 0xFF, 0x0A, 0xFD, 0x82, 0xFF, 0x10, 0x12};
static const uint8_t  secp192r1_Gy[24]      = {0x07, 0x19, 0x2B, 0x95, 0xFF, 0xC8, 0xDA, 0x78, 0x63, 0x10, 0x11, 0xED, 0x6B, 0x24, 0xCD, 0xD5, 0x73, 0xF9, 0x77, 0xA1, 0x1E, 0x79, 0x48, 0x11};
static const uint8_t  secp192r1_Gz[24]      = {0x00, 0x00, 0x00, 0x00, 0x00, 0x00, 0x00, 0x00, 0x00, 0x00, 0x00, 0x00, 0x00, 0x00, 0x00, 0x00, 0x00, 0x00, 0x00, 0x00, 0x00, 0x00, 0x00, 0x01};
static const uint8_t  secp192r1_n[24]       = {0xFF, 0xFF, 0xFF, 0xFF, 0xFF, 0xFF, 0xFF, 0xFF, 0xFF, 0xFF, 0xFF, 0xFF, 0x99, 0xDE, 0xF8, 0x36, 0x14, 0x6B, 0xC9, 0xB1, 0xB4, 0xD2, 0x28, 0x31};

/* SECP256R1 parameters */
static const uint32_t secp256r1_modulusSize = 32;
static const uint32_t secp256r1_orderSize   = 32;
static const uint32_t secp256r1_coefSign    = 1;
static const uint8_t  secp256r1_p[32]       = {0xFF, 0xFF, 0xFF, 0xFF, 0x00, 0x00, 0x00, 0x01, 0x00, 0x00, 0x00, 0x00, 0x00, 0x00, 0x00, 0x00, 0x00, 0x00, 0x00, 0x00, 0xFF, 0xFF, 0xFF, 0xFF, 0xFF, 0xFF, 0xFF, 0xFF, 0xFF, 0xFF, 0xFF, 0xFF};
static const uint8_t  secp256r1_a[32]       = {0x00, 0x00, 0x00, 0x00, 0x00, 0x00, 0x00, 0x00, 0x00, 0x00, 0x00, 0x00, 0x00, 0x00, 0x00, 0x00, 0x00, 0x00, 0x00, 0x00, 0x00, 0x00, 0x00, 0x00, 0x00, 0x00, 0x00, 0x00, 0x00, 0x00, 0x00, 0x03};
static const uint8_t  secp256r1_b[32]       = {0x5A, 0xC6, 0x35, 0xD8, 0xAA, 0x3A, 0x93, 0xE7, 0xB3, 0xEB, 0xBD, 0x55, 0x76, 0x98, 0x86, 0xBC, 0x65, 0x1D, 0x06, 0xB0, 0xCC, 0x53, 0xB0, 0xF6, 0x3B, 0xCE, 0x3C, 0x3E, 0x27, 0xD2, 0x60, 0x4B};
static const uint8_t  secp256r1_m[32]       = {0x00};
static const uint8_t  secp256r1_Gx[32]      = {0x6b, 0x17, 0xd1, 0xf2, 0xe1, 0x2c, 0x42, 0x47, 0xf8, 0xbc, 0xe6, 0xe5, 0x63, 0xa4, 0x40, 0xf2, 0x77, 0x03, 0x7d, 0x81, 0x2d, 0xeb, 0x33, 0xa0, 0xf4, 0xa1, 0x39, 0x45, 0xd8, 0x98, 0xc2, 0x96};
static const uint8_t  secp256r1_Gy[32]      = {0x4f, 0xe3, 0x42, 0xe2, 0xfe, 0x1a, 0x7f, 0x9b, 0x8e, 0xe7, 0xeb, 0x4a, 0x7c, 0x0f, 0x9e, 0x16, 0x2b, 0xce, 0x33, 0x57, 0x6b, 0x31, 0x5e, 0xce, 0xcb, 0xb6, 0x40, 0x68, 0x37, 0xbf, 0x51, 0xf5};
static const uint8_t  secp256r1_Gz[32]      = {0x00, 0x00, 0x00, 0x00, 0x00, 0x00, 0x00, 0x00, 0x00, 0x00, 0x00, 0x00, 0x00, 0x00, 0x00, 0x00, 0x00, 0x00, 0x00, 0x00, 0x00, 0x00, 0x00, 0x00, 0x00, 0x00, 0x00, 0x00, 0x00, 0x00, 0x00, 0x01};
static const uint8_t  secp256r1_n[32]       = {0xFF, 0xFF, 0xFF, 0xFF, 0x00, 0x00, 0x00, 0x00, 0xFF, 0xFF, 0xFF, 0xFF, 0xFF, 0xFF, 0xFF, 0xFF, 0xBC, 0xE6, 0xFA, 0xAD, 0xA7, 0x17, 0x9E, 0x84, 0xF3, 0xB9, 0xCA, 0xC2, 0xFC, 0x63, 0x25, 0x51};

/* SECP384R1 parameters */
static const uint32_t secp384r1_modulusSize = 48;
static const uint32_t secp384r1_orderSize   = 48;
static const uint32_t secp384r1_coefSign    = 1;
static const uint8_t  secp384r1_p[48]       = {0xFF, 0xFF, 0xFF, 0xFF, 0xFF, 0xFF, 0xFF, 0xFF, 0xFF, 0xFF, 0xFF, 0xFF, 0xFF, 0xFF, 0xFF, 0xFF, 0xFF, 0xFF, 0xFF, 0xFF, 0xFF, 0xFF, 0xFF, 0xFF, 0xFF, 0xFF, 0xFF, 0xFF, 0xFF, 0xFF, 0xFF, 0xFE, 0xFF, 0xFF, 0xFF, 0xFF, 0x00, 0x00, 0x00, 0x00, 0x00, 0x00, 0x00, 0x00, 0xFF, 0xFF, 0xFF, 0xFF};
static const uint8_t  secp384r1_a[48]       = {0x00, 0x00, 0x00, 0x00, 0x00, 0x00, 0x00, 0x00, 0x00, 0x00, 0x00, 0x00, 0x00, 0x00, 0x00, 0x00, 0x00, 0x00, 0x00, 0x00, 0x00, 0x00, 0x00, 0x00, 0x00, 0x00, 0x00, 0x00, 0x00, 0x00, 0x00, 0x00, 0x00, 0x00, 0x00, 0x00, 0x00, 0x00, 0x00, 0x00, 0x00, 0x00, 0x00, 0x00, 0x00, 0x00, 0x00, 0x03};
static const uint8_t  secp384r1_b[48]       = {0xB3, 0x31, 0x2F, 0xA7, 0xE2, 0x3E, 0xE7, 0xE4, 0x98, 0x8E, 0x05, 0x6B, 0xE3, 0xF8, 0x2D, 0x19, 0x18, 0x1D, 0x9C, 0x6E, 0xFE, 0x81, 0x41, 0x12, 0x03, 0x14, 0x08, 0x8F, 0x50, 0x13, 0x87, 0x5A, 0xC6, 0x56, 0x39, 0x8D, 0x8A, 0x2E, 0xD1, 0x9D, 0x2A, 0x85, 0xC8, 0xED, 0xD3, 0xEC, 0x2A, 0xEF};
static const uint8_t  secp384r1_m[48]       = {0x00};
static const uint8_t  secp384r1_Gx[48]      = {0xAA, 0x87, 0xCA, 0x22, 0xBE, 0x8B, 0x05, 0x37, 0x8E, 0xB1, 0xC7, 0x1E, 0xF3, 0x20, 0xAD, 0x74, 0x6E, 0x1D, 0x3B, 0x62, 0x8B, 0xA7, 0x9B, 0x98, 0x59, 0xF7, 0x41, 0xE0, 0x82, 0x54, 0x2A, 0x38, 0x55, 0x02, 0xF2, 0x5D, 0xBF, 0x55, 0x29, 0x6C, 0x3A, 0x54, 0x5E, 0x38, 0x72, 0x76, 0x0A, 0xB7};
static const uint8_t  secp384r1_Gy[48]      = {0x36, 0x17, 0xDE, 0x4A, 0x96, 0x26, 0x2C, 0x6F, 0x5D, 0x9E, 0x98, 0xBF, 0x92, 0x92, 0xDC, 0x29, 0xF8, 0xF4, 0x1D, 0xBD, 0x28, 0x9A, 0x14, 0x7C, 0xE9, 0xDA, 0x31, 0x13, 0xB5, 0xF0, 0xB8, 0xC0, 0x0A, 0x60, 0xB1, 0xCE, 0x1D, 0x7E, 0x81, 0x9D, 0x7A, 0x43, 0x1D, 0x7C, 0x90, 0xEA, 0x0E, 0x5F};
static const uint8_t  secp384r1_Gz[48]      = {0x00, 0x00, 0x00, 0x00, 0x00, 0x00, 0x00, 0x00, 0x00, 0x00, 0x00, 0x00, 0x00, 0x00, 0x00, 0x00, 0x00, 0x00, 0x00, 0x00, 0x00, 0x00, 0x00, 0x00, 0x00, 0x00, 0x00, 0x00, 0x00, 0x00, 0x00, 0x00, 0x00, 0x00, 0x00, 0x00, 0x00, 0x00, 0x00, 0x00, 0x00, 0x00, 0x00, 0x00, 0x00, 0x00, 0x00, 0x01};
static const uint8_t  secp384r1_n[48]       = {0xFF, 0xFF, 0xFF, 0xFF, 0xFF, 0xFF, 0xFF, 0xFF, 0xFF, 0xFF, 0xFF, 0xFF, 0xFF, 0xFF, 0xFF, 0xFF, 0xFF, 0xFF, 0xFF, 0xFF, 0xFF, 0xFF, 0xFF, 0xFF, 0xC7, 0x63, 0x4D, 0x81, 0xF4, 0x37, 0x2D, 0xDF, 0x58, 0x1A, 0x0D, 0xB2, 0x48, 0xB0, 0xA7, 0x7A, 0xEC, 0xEC, 0x19, 0x6A, 0xCC, 0xC5, 0x29, 0x73};

static int pka_compute_public_key(mbedtls_ecp_group_id gid, const uint8_t *priv_key, uint8_t *Qx, uint8_t *Qy)
{
    HAL_StatusTypeDef status = HAL_OK;
    PKA_ECCDoubleBaseLadderInTypeDef in = {0};
    PKA_ECCDoubleBaseLadderOutTypeDef out = {0};

    if (gid == MBEDTLS_ECP_DP_SECP256R1) {
        in.modulusSize = secp256r1_modulusSize;
        in.primeOrderSize = secp256r1_orderSize;
        in.modulus = secp256r1_p;
        in.coefSign = secp256r1_coefSign;
        in.coefA = secp256r1_a;
        in.integerK = priv_key;
        in.integerM = secp256r1_m;
        in.basePointX1 = secp256r1_Gx;
        in.basePointY1 = secp256r1_Gy;
        in.basePointZ1 = secp256r1_Gz;
        in.basePointX2 = NULL;
        in.basePointY2 = NULL;
        in.basePointZ2 = NULL;
    } else if (gid == MBEDTLS_ECP_DP_SECP192R1) {
        in.modulusSize = secp192r1_modulusSize;
        in.primeOrderSize = secp192r1_orderSize;
        in.modulus = secp192r1_p;
        in.coefSign = secp192r1_coefSign;
        in.coefA = secp192r1_a;
        in.integerK = priv_key;
        in.integerM = secp192r1_m;
        in.basePointX1 = secp192r1_Gx;
        in.basePointY1 = secp192r1_Gy;
        in.basePointZ1 = secp192r1_Gz;
        in.basePointX2 = NULL;
        in.basePointY2 = NULL;
        in.basePointZ2 = NULL;
    } else if (gid == MBEDTLS_ECP_DP_SECP384R1) {
        in.modulusSize = secp384r1_modulusSize;
        in.primeOrderSize = secp384r1_orderSize;
        in.modulus = secp384r1_p;
        in.coefSign = secp384r1_coefSign;
        in.coefA = secp384r1_a;
        in.integerK = priv_key;
        in.integerM = secp384r1_m;
        in.basePointX1 = secp384r1_Gx;
        in.basePointY1 = secp384r1_Gy;
        in.basePointZ1 = secp384r1_Gz;
        in.basePointX2 = NULL;
        in.basePointY2 = NULL;
        in.basePointZ2 = NULL;
    } else {
        return MBEDTLS_ERR_ECP_BAD_INPUT_DATA;
    }

    out.ptX = Qx;
    out.ptY = Qy;

    status = HAL_PKA_ECCDoubleBaseLadder(&hpka, &in, 5000);
    if (status != HAL_OK) {
        LOG_ERR("HAL_PKA_ECCDoubleBaseLadder failed with ret=%d", status);
        return -ENODEV;
    }
    HAL_PKA_ECCDoubleBaseLadder_GetResult(&hpka, &out);
    return 0;
}

int mbedtls_ecdsa_genkey(mbedtls_ecp_keypair *ctx, mbedtls_ecp_group_id gid,
                         int (*f_rng)(void *, unsigned char *, size_t), void *p_rng)
{
    int ret = 0;
    size_t priv_len = 0, pub_len = 0;
    uint8_t rand_priv[66] = {0};
    uint8_t Qx[66] = {0}, Qy[66] = {0};

    switch (gid) {
        case MBEDTLS_ECP_DP_SECP192R1:
            priv_len = pub_len = 24;
            break;
        case MBEDTLS_ECP_DP_SECP256R1:
            priv_len = pub_len = 32;
            break;
        case MBEDTLS_ECP_DP_SECP384R1:
            priv_len = pub_len = 48;
            break;
        default:
            return MBEDTLS_ERR_ECP_BAD_INPUT_DATA;
    }

    if ((ret = mbedtls_ecp_group_load(&ctx->MBEDTLS_PRIVATE(grp), gid)) != 0)
    {
        LOG_ERR("L:%d", __LINE__);
        return ret;
    }

    mbedtls_mpi mpi_n;
    mbedtls_mpi_init(&mpi_n);

    switch (gid) {
        case MBEDTLS_ECP_DP_SECP192R1:
            mbedtls_mpi_read_binary(&mpi_n, secp192r1_n, priv_len);
            break;
        case MBEDTLS_ECP_DP_SECP256R1:
            mbedtls_mpi_read_binary(&mpi_n, secp256r1_n, priv_len);
            break;
        case MBEDTLS_ECP_DP_SECP384R1:
            mbedtls_mpi_read_binary(&mpi_n, secp384r1_n, priv_len);
            break;
        default:
            mbedtls_mpi_free(&mpi_n);
            return MBEDTLS_ERR_ECP_BAD_INPUT_DATA;
    }

    do {
        if ((ret = f_rng(p_rng, rand_priv, priv_len)) != 0)
            return ret;
        mbedtls_mpi_read_binary(&ctx->MBEDTLS_PRIVATE(d), rand_priv, priv_len);
    } while (mbedtls_mpi_cmp_int(&ctx->MBEDTLS_PRIVATE(d), 1) < 0 ||
             mbedtls_mpi_cmp_mpi(&ctx->MBEDTLS_PRIVATE(d), &mpi_n) >= 0);
    mbedtls_mpi_free(&mpi_n);

    LOG_HEXDUMP_INF(rand_priv, priv_len, "private key");

    if (pka_compute_public_key(gid, rand_priv, Qx, Qy) != 0) {
        memset(Qx, 0, pub_len);
        memset(Qy, 0, pub_len);
        LOG_ERR("L:%d", __LINE__);
        return MBEDTLS_ERR_ECP_ALLOC_FAILED;
    }

    if ((ret = mbedtls_mpi_read_binary(&ctx->MBEDTLS_PRIVATE(d), rand_priv, priv_len)) != 0)
    {
        LOG_ERR("L:%d", __LINE__);
        return ret;
    }

    if ((ret = mbedtls_mpi_read_binary(&ctx->MBEDTLS_PRIVATE(Q).MBEDTLS_PRIVATE(X), Qx, pub_len)) != 0)
    {
        LOG_ERR("L:%d", __LINE__);
        return ret;
    }
    if ((ret = mbedtls_mpi_read_binary(&ctx->MBEDTLS_PRIVATE(Q).MBEDTLS_PRIVATE(Y), Qy, pub_len)) != 0)
    {
        LOG_ERR("L:%d", __LINE__);
        return ret;
    }
    if ((ret = mbedtls_mpi_lset(&ctx->MBEDTLS_PRIVATE(Q).MBEDTLS_PRIVATE(Z), 1)) != 0)
    {
        LOG_ERR("L:%d", __LINE__);
        return ret;
    }

    return 0;
}

int mbedtls_ecdsa_sign(mbedtls_ecp_group *grp, mbedtls_mpi *r, mbedtls_mpi *s,
                       const mbedtls_mpi *d, const unsigned char *buf, size_t blen,
                       int (*f_rng)(void *, unsigned char *, size_t), void *p_rng)
{
    size_t size = 0;
    const uint8_t *p = NULL, *a = NULL, *b = NULL, *gx = NULL, *gy = NULL, *n = NULL;
    uint32_t modulusSize = 0, orderSize = 0, coefSign = 1;
    uint8_t k_bin[66] = {0}, d_buf[66] = {0}, r_bin[66] = {0}, s_bin[66] = {0};
    static PKA_ECDSASignInTypeDef in;
    static PKA_ECDSASignOutTypeDef out;

    memset(&in, 0, sizeof(in));
    memset(&out, 0, sizeof(out));

    switch (grp->id) {
        case MBEDTLS_ECP_DP_SECP192R1:
            size = 24; p = secp192r1_p; a = secp192r1_a; b = secp192r1_b; gx = secp192r1_Gx; gy = secp192r1_Gy; n = secp192r1_n; modulusSize = secp192r1_modulusSize; orderSize = secp192r1_orderSize; coefSign = secp192r1_coefSign; break;
        case MBEDTLS_ECP_DP_SECP256R1:
            size = 32; p = secp256r1_p; a = secp256r1_a; b = secp256r1_b; gx = secp256r1_Gx; gy = secp256r1_Gy; n = secp256r1_n; modulusSize = secp256r1_modulusSize; orderSize = secp256r1_orderSize; coefSign = secp256r1_coefSign; break;
        case MBEDTLS_ECP_DP_SECP384R1:
            size = 48; p = secp384r1_p; a = secp384r1_a; b = secp384r1_b; gx = secp384r1_Gx; gy = secp384r1_Gy; n = secp384r1_n; modulusSize = secp384r1_modulusSize; orderSize = secp384r1_orderSize; coefSign = secp384r1_coefSign; break;
        default:
            return MBEDTLS_ERR_ECP_FEATURE_UNAVAILABLE;
    }

    if (f_rng(p_rng, k_bin, size) != 0) return MBEDTLS_ERR_ECP_RANDOM_FAILED;
    mbedtls_mpi_write_binary(d, d_buf, size);

    in.primeOrderSize = orderSize;
    in.modulusSize    = modulusSize;
    in.coefSign       = coefSign;
    in.coef           = a;
    in.coefB          = b;
    in.modulus        = p;
    in.basePointX     = gx;
    in.basePointY     = gy;
    in.integer        = k_bin;
    in.hash           = buf;
    in.privateKey     = d_buf;
    in.primeOrder     = n;

    out.RSign = r_bin;
    out.SSign = s_bin;

    if (HAL_PKA_ECDSASign(&hpka, &in, 5000) != HAL_OK) return MBEDTLS_ERR_PLATFORM_HW_ACCEL_FAILED;
    HAL_PKA_ECDSASign_GetResult(&hpka, &out, NULL);

    mbedtls_mpi_read_binary(r, r_bin, size);
    mbedtls_mpi_read_binary(s, s_bin, size);

    return 0;
}

int mbedtls_ecdsa_verify(mbedtls_ecp_group *grp, const unsigned char *buf, size_t blen,
                          const mbedtls_ecp_point *Q, const mbedtls_mpi *r, const mbedtls_mpi *s)
{
    size_t size = 0, q_len = 0;
    const uint8_t *p = NULL, *a = NULL, *gx = NULL, *gy = NULL, *n = NULL;
    uint32_t modulusSize = 0, orderSize = 0, coefSign = 1;
    uint8_t r_bin[66] = {0}, s_bin[66] = {0}, q_bin[2*66+1] = {0};
    static PKA_ECDSAVerifInTypeDef in;

    memset(&in, 0, sizeof(in));

    switch (grp->id) {
        case MBEDTLS_ECP_DP_SECP192R1:
            size = 24; p = secp192r1_p; a = secp192r1_a; gx = secp192r1_Gx; gy = secp192r1_Gy; n = secp192r1_n; modulusSize = secp192r1_modulusSize; orderSize = secp192r1_orderSize; coefSign = secp192r1_coefSign; break;
        case MBEDTLS_ECP_DP_SECP256R1:
            size = 32; p = secp256r1_p; a = secp256r1_a; gx = secp256r1_Gx; gy = secp256r1_Gy; n = secp256r1_n; modulusSize = secp256r1_modulusSize; orderSize = secp256r1_orderSize; coefSign = secp256r1_coefSign; break;
        case MBEDTLS_ECP_DP_SECP384R1:
            size = 48; p = secp384r1_p; a = secp384r1_a; gx = secp384r1_Gx; gy = secp384r1_Gy; n = secp384r1_n; modulusSize = secp384r1_modulusSize; orderSize = secp384r1_orderSize; coefSign = secp384r1_coefSign; break;
        default:
            return MBEDTLS_ERR_ECP_FEATURE_UNAVAILABLE;
    }

    mbedtls_mpi_write_binary(r, r_bin, size);
    mbedtls_mpi_write_binary(s, s_bin, size);
    mbedtls_ecp_point_write_binary(grp, Q, MBEDTLS_ECP_PF_UNCOMPRESSED, &q_len, q_bin, sizeof(q_bin));

    in.primeOrderSize  = orderSize;
    in.modulusSize     = modulusSize;
    in.coefSign        = coefSign;
    in.coef            = a;
    in.modulus         = p;
    in.basePointX      = gx;
    in.basePointY      = gy;
    in.pPubKeyCurvePtX = &q_bin[1];
    in.pPubKeyCurvePtY = &q_bin[1+size];
    in.RSign           = r_bin;
    in.SSign           = s_bin;
    in.hash            = buf;
    in.primeOrder      = n;

    if (HAL_PKA_ECDSAVerif(&hpka, &in, 5000) != HAL_OK) {
        return MBEDTLS_ERR_PLATFORM_HW_ACCEL_FAILED;
    }

    if (HAL_PKA_ECDSAVerif_IsValidSignature(&hpka) == 1) {
        return 0; 
    } else {
        return MBEDTLS_ERR_ECP_VERIFY_FAILED; 
    }
}

void hello_world()
{
    static const uint8_t  secp192r1_k[24]       = {0xb1, 0xe7, 0x93, 0x39, 0xd0, 0x2a, 0x6c, 0x03, 0x31, 0xb0, 0x57, 0xb2, 0xe8, 0x4f, 0xb9, 0x3a, 0x26, 0x48, 0x34, 0x1d, 0x7c, 0x89, 0x1f, 0x3e};
    static const uint8_t  secp256r1_k[32]       = {0xb1, 0xe7, 0x93, 0x39, 0xd0, 0x2a, 0x6c, 0x03, 0x31, 0xb0, 0x57, 0xb2, 0xe8, 0x4f, 0xb9, 0x3a, 0x26, 0x48, 0x34, 0x1d, 0x7c, 0x89, 0x1f, 0x3e, 0x46, 0x59, 0x1c, 0xdb, 0x62, 0x00, 0xa8, 0x05};
    static const uint8_t  secp384r1_k[48]         = {0xb1, 0xe7, 0x93, 0x39, 0xd0, 0x2a, 0x6c, 0x03, 0x31, 0xb0, 0x57, 0xb2, 0xe8, 0x4f, 0xb9, 0x3a, 0x26, 0x48, 0x34, 0x1d, 0x7c, 0x89, 0x1f, 0x3e, 
                                                     0xb1, 0xe7, 0x93, 0x39, 0xd0, 0x2a, 0x6c, 0x03, 0x31, 0xb0, 0x57, 0xb2, 0xe8, 0x4f, 0xb9, 0x3a, 0x26, 0x48, 0x34, 0x1d, 0x7c, 0x89, 0x1f, 0x3e};
    uint8_t Qx[48];
    uint8_t Qy[48];
    
    pka_compute_public_key(MBEDTLS_ECP_DP_SECP192R1, secp192r1_k, Qx, Qy);
    LOG_HEXDUMP_INF(Qx, 24, "Qx");
    LOG_HEXDUMP_INF(Qy, 24, "Qy");

    pka_compute_public_key(MBEDTLS_ECP_DP_SECP256R1, secp256r1_k, Qx, Qy);
    LOG_HEXDUMP_INF(Qx, 32, "Qx");
    LOG_HEXDUMP_INF(Qy, 32, "Qy");

    pka_compute_public_key(MBEDTLS_ECP_DP_SECP384R1, secp384r1_k, Qx, Qy);
    LOG_HEXDUMP_INF(Qx, 48, "Qx");
    LOG_HEXDUMP_INF(Qy, 48, "Qy");
}
```

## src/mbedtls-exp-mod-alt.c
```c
#include <mbedtls/bignum.h>
#include <mbedtls/error.h>
#include <zephyr/kernel.h>
#include "stm32h7rsxx_hal.h"

#include <zephyr/logging/log.h>
LOG_MODULE_REGISTER(rsa_alt, LOG_LEVEL_DBG);

static PKA_HandleTypeDef hpka = { .Instance = PKA, .State = HAL_PKA_STATE_READY };

static uint8_t n_buf[512] = {0};
static uint8_t a_buf[512] = {0};
static uint8_t e_buf[512] = {0};
static uint8_t out_buf[512] = {0};

int mbedtls_mpi_exp_mod(mbedtls_mpi *X, const mbedtls_mpi *A,
                        const mbedtls_mpi *E, const mbedtls_mpi *N,
                        mbedtls_mpi *prec_RR)
{
    LOG_INF("mbedtls_mpi_exp_mod called with A=%d, E=%d, N=%d", mbedtls_mpi_size(A)*8, mbedtls_mpi_size(E)*8, mbedtls_mpi_size(N)*8);

    size_t n_len = mbedtls_mpi_size(N);
    size_t e_len = mbedtls_mpi_size(E);

    mbedtls_mpi_write_binary(N, n_buf, n_len);
    mbedtls_mpi_write_binary(A, a_buf, n_len);
    mbedtls_mpi_write_binary(E, e_buf, e_len);

    PKA_ModExpInTypeDef in = {0};
    in.OpSize = n_len;
    in.expSize = e_len;
    in.pOp1 = a_buf;
    in.pExp = e_buf;
    in.pMod = n_buf;

    if (HAL_PKA_ModExp(&hpka, &in, HAL_MAX_DELAY) != HAL_OK)
    {
        LOG_ERR("HAL_PKA_ModExp failed with ret=%d", HAL_PKA_GetError(&hpka));
        return MBEDTLS_ERR_PLATFORM_HW_ACCEL_FAILED;
    }

    HAL_PKA_ModExp_GetResult(&hpka, out_buf);

    return mbedtls_mpi_read_binary(X, out_buf, n_len);
}
```
